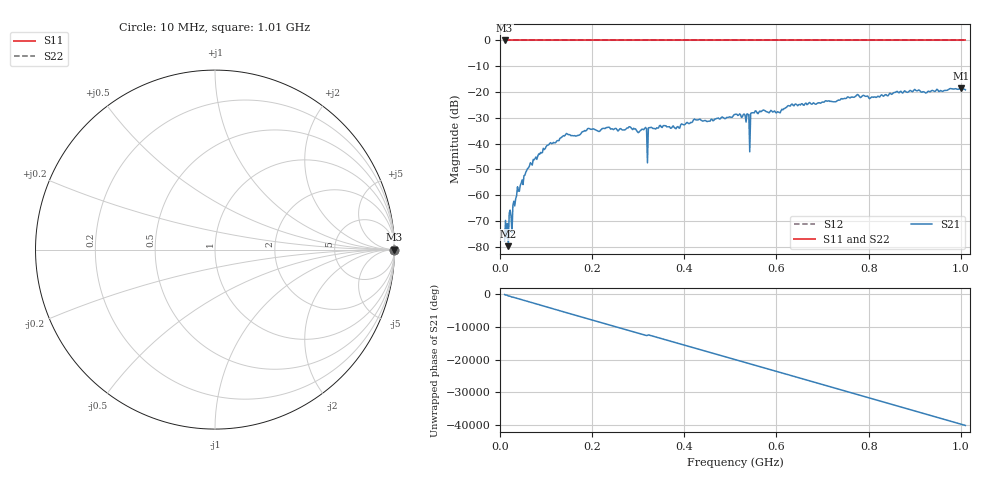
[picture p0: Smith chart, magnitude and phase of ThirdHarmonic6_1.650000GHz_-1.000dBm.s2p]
! 8/16/2025 7:45:24 PM
! C:\ANRITSUVNA\TEMP\TEMP.S2P
! CHANNEL.1
! TR.MEASUREMENT
! RAW.DATA
! RF.CORRECTION.OFF
! AVERAGING.OFF
! IF.BANDWIDTH: 5KHZ
! SWEEPTYPE:  FREQ.SWEEP(Linear)
! Reference Plane Port Info
! PORT:  PORT1  PORT2
! DISTANCE:  0  m  0  m
! TIME:  0  s  0  s
! PHASE.OFFSET:  0  deg.  0  deg.
! LOSS:  0  dB  0  dB
! REF.LOSS:  0  dB  0  dB
! REF.FREQ:  0  Hz  0  Hz
! Power Info
! POWER:  -20  dBm  -20  dBm
! EFF.POWER:  -20  dBm  -20  dBm
! SOURCE.ATTEN:  0  dB  0  dB
! TEST.ATTEN:  0  dB  0  dB
# GHZ S RI R 50.0
! FREQ.GHZ  S11RE  S11IM  S21RE  S21IM  S12RE  S12IM  S22RE  S22IM
!; PortSelection: Port_12
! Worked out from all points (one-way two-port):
!   501 points, 10 MHz to 1.01 GHz, reference 50 ohm
!   highest |S21| = -18.59 dB at 1 GHz (marker M1); lowest = -79.8 dB at 18 MHz (marker M2)
!   lowest |S11| = 0.0 dB at 10 MHz (marker M3)
!   |S11| at or under -10 dB: nowhere
!   |S22| runs from 0.0 to 0.0 dB; largest |S21 - S12| = 1.1
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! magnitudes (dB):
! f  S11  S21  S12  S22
! 10 MHz  0.0  -77.6  0.0  0.0
! 18 MHz  0.0  -79.8  0.0  0.0
! 22 MHz  0.0  -65.8  0.0  0.0
! 24 MHz  0.0  -68.2  0.0  0.0
! 42 MHz  0.0  -58.5  0.0  0.0
! 70 MHz  0.0  -48.4  0.0  0.0
! 106 MHz  0.0  -40.4  0.0  0.0
! 178 MHz  0.0  -35.4  0.0  0.0
! 280 MHz  0.0  -33.5  0.0  0.0
! 314 MHz  0.0  -34.1  0.0  0.0
! 316 MHz  0.0  -33.7  0.0  0.0
! 324 MHz  0.0  -33.8  0.0  0.0
! 326 MHz  0.0  -33.8  0.0  0.0
! 344 MHz  0.0  -33.9  0.0  0.0
! 510 MHz  0.0  -28.7  0.0  0.0
! 536 MHz  0.0  -28.4  0.0  0.0
! 538 MHz  0.0  -28.7  0.0  0.0
! 552 MHz  0.0  -28.0  0.0  0.0
! 678 MHz  0.0  -24.6  0.0  0.0
! 844 MHz  0.0  -21.0  0.0  0.0
! 1 GHz  0.0  -18.6  0.0  0.0
! 1.01 GHz  0.0  -19.1  0.0  0.0
